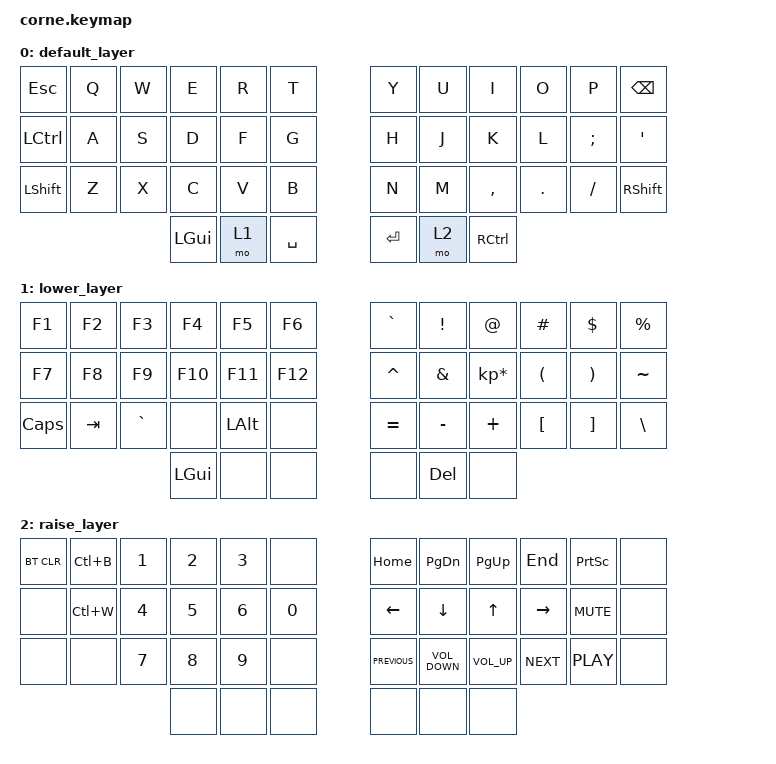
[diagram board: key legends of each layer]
/*
 * Copyright (c) 2020 The ZMK Contributors
 *
 * SPDX-License-Identifier: MIT
 */

#include <behaviors.dtsi>
#include <dt-bindings/zmk/keys.h>
#include <dt-bindings/zmk/bt.h>

/ {
    keymap {
        compatible = "zmk,keymap";

        default_layer {
            bindings = <
&kp ESC    &kp Q  &kp W  &kp E     &kp R  &kp T        &kp Y    &kp U  &kp I      &kp O    &kp P     &kp BACKSPACE
&kp LCTRL  &kp A  &kp S  &kp D     &kp F  &kp G        &kp H    &kp J  &kp K      &kp L    &kp SEMI  &kp SQT
&kp LSHFT  &kp Z  &kp X  &kp C     &kp V  &kp B        &kp N    &kp M  &kp COMMA  &kp DOT  &kp FSLH  &kp RIGHT_SHIFT
                         &kp LGUI  &mo 1  &kp SPACE    &kp RET  &mo 2  &kp RCTRL
            >;
        };

        lower_layer {
            bindings = <
&kp F1        &kp F2   &kp F3     &kp F4    &kp F5    &kp F6     &kp GRAVE  &kp EXCL   &kp AT           &kp HASH              &kp DLLR               &kp PRCNT
&kp F7        &kp F8   &kp F9     &kp F10   &kp F11   &kp F12    &kp CARET  &kp AMPS   &kp KP_MULTIPLY  &kp LEFT_PARENTHESIS  &kp RIGHT_PARENTHESIS  &kp TILDE
&kp CAPSLOCK  &kp TAB  &kp GRAVE  &none     &kp LALT  &none      &kp EQUAL  &kp MINUS  &kp PLUS         &kp LEFT_BRACKET      &kp RIGHT_BRACKET      &kp BACKSLASH
                                  &kp LGUI  &none     &none      &none      &kp DEL    &none
            >;
        };

        raise_layer {
            bindings = <
&bt BT_CLR  &kp LC(B)  &kp N1  &kp N2  &kp N3  &none     &kp HOME        &kp PAGE_DOWN      &kp PAGE_UP      &kp END          &kp PRINTSCREEN  &none
&none       &kp LC(W)  &kp N4  &kp N5  &kp N6  &kp N0    &kp LEFT_ARROW  &kp DOWN_ARROW     &kp UP_ARROW     &kp RIGHT_ARROW  &kp K_MUTE       &none
&none       &none      &kp N7  &kp N8  &kp N9  &none     &kp C_PREVIOUS  &kp C_VOLUME_DOWN  &kp C_VOLUME_UP  &kp C_NEXT       &kp C_PLAY       &none
                               &none   &none   &none     &none           &none              &none
            >;
        };
    };
};
